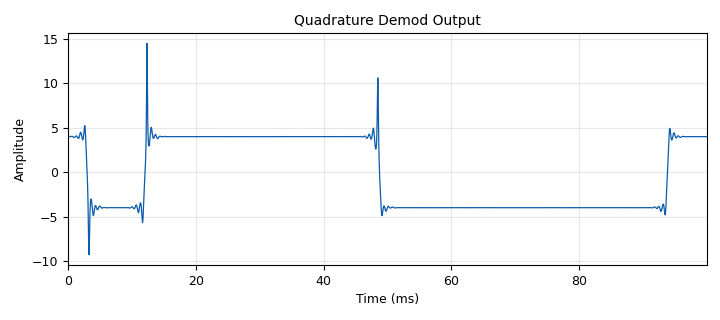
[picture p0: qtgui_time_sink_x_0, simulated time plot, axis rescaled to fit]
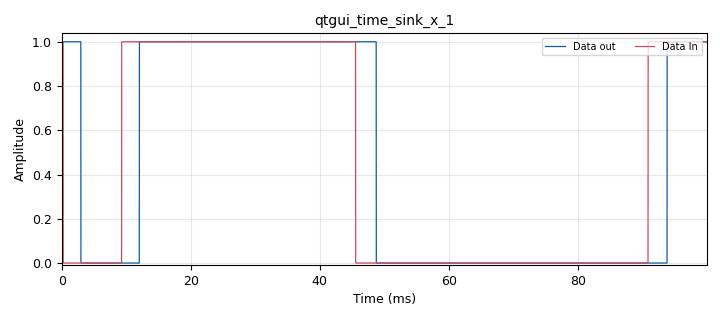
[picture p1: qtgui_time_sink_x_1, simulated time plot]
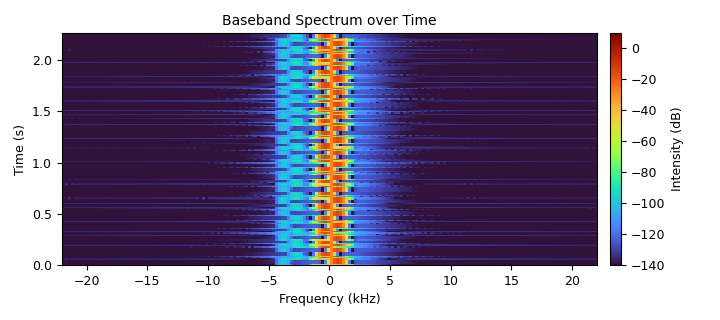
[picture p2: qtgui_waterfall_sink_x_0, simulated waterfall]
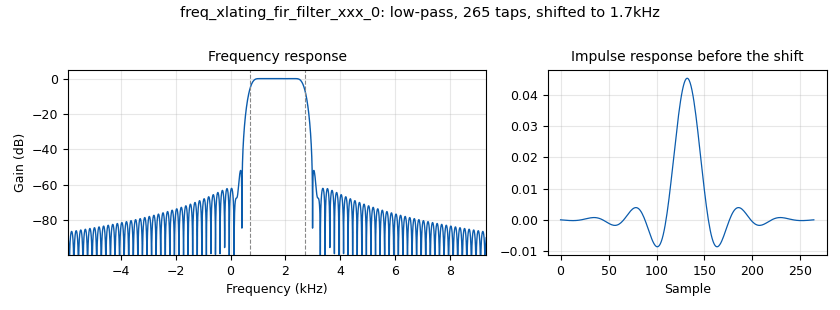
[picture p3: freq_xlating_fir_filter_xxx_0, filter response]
<?xml version='1.0' encoding='utf-8'?>
<?grc format='1' created='3.7.10'?>
<flow_graph>
<block>
<key>options</key>
<param><key>id</key><value>top_block</value></param>
<param><key>category</key><value>Custom</value></param>
<param><key>generate_options</key><value>qt_gui</value></param>
</block>
<block>
<key>variable</key>
<param><key>id</key><value>samp_rate</value></param>
<param><key>value</key><value>44100</value></param>
</block>
<block>
<key>analog_const_source_x</key>
<param><key>id</key><value>analog_const_source_x_0</value></param>
<param><key>const</key><value>1</value></param>
<param><key>type</key><value>float</value></param>
</block>
<block>
<key>analog_quadrature_demod_cf</key>
<param><key>id</key><value>analog_quadrature_demod_cf_0</value></param>
<param><key>gain</key><value>-samp_rate/(2*math.pi*1000/8.0)</value></param>
</block>
<block>
<key>analog_random_source_x</key>
<param><key>id</key><value>analog_random_source_x_0</value></param>
<param><key>_enabled</key><value>0</value></param>
<param><key>max</key><value>2</value></param>
<param><key>min</key><value>0</value></param>
<param><key>num_samps</key><value>1000</value></param>
<param><key>type</key><value>byte</value></param>
<param><key>repeat</key><value>True</value></param>
</block>
<block>
<key>analog_sig_source_x</key>
<param><key>id</key><value>analog_sig_source_x_1</value></param>
<param><key>amp</key><value>1</value></param>
<param><key>freq</key><value>1200</value></param>
<param><key>offset</key><value>0</value></param>
<param><key>type</key><value>float</value></param>
<param><key>samp_rate</key><value>samp_rate</value></param>
<param><key>waveform</key><value>analog.GR_COS_WAVE</value></param>
</block>
<block>
<key>analog_sig_source_x</key>
<param><key>id</key><value>analog_sig_source_x_1_0</value></param>
<param><key>amp</key><value>1</value></param>
<param><key>freq</key><value>2200</value></param>
<param><key>offset</key><value>0</value></param>
<param><key>type</key><value>float</value></param>
<param><key>samp_rate</key><value>samp_rate</value></param>
<param><key>waveform</key><value>analog.GR_COS_WAVE</value></param>
</block>
<block>
<key>blks2_tcp_sink</key>
<param><key>id</key><value>blks2_tcp_sink_0</value></param>
<param><key>addr</key><value>127.0.0.1</value></param>
<param><key>type</key><value>complex</value></param>
<param><key>server</key><value>False</value></param>
<param><key>port</key><value>8011</value></param>
<param><key>vlen</key><value>1</value></param>
</block>
<block>
<key>blocks_add_xx</key>
<param><key>id</key><value>blocks_add_xx_0</value></param>
<param><key>type</key><value>float</value></param>
</block>
<block>
<key>blocks_char_to_float</key>
<param><key>id</key><value>blocks_char_to_float_0</value></param>
<param><key>scale</key><value>1</value></param>
</block>
<block>
<key>blocks_char_to_float</key>
<param><key>id</key><value>blocks_char_to_float_1</value></param>
<param><key>scale</key><value>1</value></param>
</block>
<block>
<key>blocks_multiply_xx</key>
<param><key>id</key><value>blocks_multiply_xx_0</value></param>
<param><key>type</key><value>float</value></param>
</block>
<block>
<key>blocks_multiply_xx</key>
<param><key>id</key><value>blocks_multiply_xx_0_0</value></param>
<param><key>type</key><value>float</value></param>
</block>
<block>
<key>blocks_repeat</key>
<param><key>id</key><value>blocks_repeat_0</value></param>
<param><key>interp</key><value>400</value></param>
<param><key>type</key><value>byte</value></param>
</block>
<block>
<key>blocks_sub_xx</key>
<param><key>id</key><value>blocks_sub_xx_0</value></param>
<param><key>type</key><value>float</value></param>
</block>
<block>
<key>blocks_throttle</key>
<param><key>id</key><value>blocks_throttle_0</value></param>
<param><key>samples_per_second</key><value>samp_rate</value></param>
<param><key>type</key><value>float</value></param>
</block>
<block>
<key>blocks_vector_source_x</key>
<param><key>id</key><value>blocks_vector_source_x_0</value></param>
<param><key>type</key><value>byte</value></param>
<param><key>repeat</key><value>True</value></param>
<param><key>vector</key><value>[0,0,0,0,0,1,0,1,0,1,1,1,1]</value></param>
</block>
<block>
<key>digital_binary_slicer_fb</key>
<param><key>id</key><value>digital_binary_slicer_fb_0</value></param>
</block>
<block>
<key>freq_xlating_fir_filter_xxx</key>
<param><key>id</key><value>freq_xlating_fir_filter_xxx_0</value></param>
<param><key>center_freq</key><value>(2200+1200) / 2</value></param>
<param><key>decim</key><value>1</value></param>
<param><key>samp_rate</key><value>44100</value></param>
<param><key>taps</key><value>firdes.low_pass(1.0,samp_rate,1000, 400)</value></param>
<param><key>type</key><value>fcf</value></param>
</block>
<block>
<key>qtgui_time_sink_x</key>
<param><key>id</key><value>qtgui_time_sink_x_0</value></param>
<param><key>gui_hint</key><value>0,1,1,1</value></param>
<param><key>color1</key><value>"blue"</value></param>
<param><key>label1</key><value>""</value></param>
<param><key>name</key><value>"Quadrature Demod Output"</value></param>
<param><key>size</key><value>samp_rate / 10</value></param>
<param><key>srate</key><value>samp_rate</value></param>
<param><key>type</key><value>float</value></param>
<param><key>ymax</key><value>4</value></param>
<param><key>ymin</key><value>-4</value></param>
</block>
<block>
<key>qtgui_time_sink_x</key>
<param><key>id</key><value>qtgui_time_sink_x_1</value></param>
<param><key>gui_hint</key><value>1,0,1,2</value></param>
<param><key>color1</key><value>"blue"</value></param>
<param><key>label1</key><value>Data out</value></param>
<param><key>color2</key><value>"red"</value></param>
<param><key>label2</key><value>Data In</value></param>
<param><key>nconnections</key><value>2</value></param>
<param><key>size</key><value>samp_rate/10</value></param>
<param><key>srate</key><value>samp_rate</value></param>
<param><key>type</key><value>float</value></param>
<param><key>ymin</key><value>-0.01</value></param>
</block>
<block>
<key>qtgui_waterfall_sink_x</key>
<param><key>id</key><value>qtgui_waterfall_sink_x_0</value></param>
<param><key>bw</key><value>samp_rate</value></param>
<param><key>fc</key><value>0</value></param>
<param><key>fftsize</key><value>samp_rate/500*2</value></param>
<param><key>gui_hint</key><value>0,0,1,1</value></param>
<param><key>name</key><value>"Baseband Spectrum over Time"</value></param>
<param><key>showports</key><value>True</value></param>
<param><key>freqhalf</key><value>False</value></param>
<param><key>type</key><value>complex</value></param>
<param><key>update_time</key><value>500./samp_rate</value></param>
<param><key>wintype</key><value>firdes.WIN_BLACKMAN_hARRIS</value></param>
</block>
<connection><source_block_id>analog_const_source_x_0</source_block_id><sink_block_id>blocks_sub_xx_0</sink_block_id><source_key>0</source_key><sink_key>0</sink_key></connection>
<connection><source_block_id>analog_quadrature_demod_cf_0</source_block_id><sink_block_id>digital_binary_slicer_fb_0</sink_block_id><source_key>0</source_key><sink_key>0</sink_key></connection>
<connection><source_block_id>analog_quadrature_demod_cf_0</source_block_id><sink_block_id>qtgui_time_sink_x_0</sink_block_id><source_key>0</source_key><sink_key>0</sink_key></connection>
<connection><source_block_id>analog_random_source_x_0</source_block_id><sink_block_id>blocks_repeat_0</sink_block_id><source_key>0</source_key><sink_key>0</sink_key></connection>
<connection><source_block_id>analog_sig_source_x_1</source_block_id><sink_block_id>blocks_multiply_xx_0</sink_block_id><source_key>0</source_key><sink_key>0</sink_key></connection>
<connection><source_block_id>analog_sig_source_x_1_0</source_block_id><sink_block_id>blocks_multiply_xx_0_0</sink_block_id><source_key>0</source_key><sink_key>0</sink_key></connection>
<connection><source_block_id>blocks_add_xx_0</source_block_id><sink_block_id>blocks_throttle_0</sink_block_id><source_key>0</source_key><sink_key>0</sink_key></connection>
<connection><source_block_id>blocks_char_to_float_0</source_block_id><sink_block_id>blocks_multiply_xx_0</sink_block_id><source_key>0</source_key><sink_key>1</sink_key></connection>
<connection><source_block_id>blocks_char_to_float_0</source_block_id><sink_block_id>blocks_sub_xx_0</sink_block_id><source_key>0</source_key><sink_key>1</sink_key></connection>
<connection><source_block_id>blocks_char_to_float_0</source_block_id><sink_block_id>qtgui_time_sink_x_1</sink_block_id><source_key>0</source_key><sink_key>1</sink_key></connection>
<connection><source_block_id>blocks_char_to_float_1</source_block_id><sink_block_id>qtgui_time_sink_x_1</sink_block_id><source_key>0</source_key><sink_key>0</sink_key></connection>
<connection><source_block_id>blocks_multiply_xx_0</source_block_id><sink_block_id>blocks_add_xx_0</sink_block_id><source_key>0</source_key><sink_key>0</sink_key></connection>
<connection><source_block_id>blocks_multiply_xx_0_0</source_block_id><sink_block_id>blocks_add_xx_0</sink_block_id><source_key>0</source_key><sink_key>1</sink_key></connection>
<connection><source_block_id>blocks_repeat_0</source_block_id><sink_block_id>blocks_char_to_float_0</sink_block_id><source_key>0</source_key><sink_key>0</sink_key></connection>
<connection><source_block_id>blocks_sub_xx_0</source_block_id><sink_block_id>blocks_multiply_xx_0_0</sink_block_id><source_key>0</source_key><sink_key>1</sink_key></connection>
<connection><source_block_id>blocks_throttle_0</source_block_id><sink_block_id>freq_xlating_fir_filter_xxx_0</sink_block_id><source_key>0</source_key><sink_key>0</sink_key></connection>
<connection><source_block_id>blocks_vector_source_x_0</source_block_id><sink_block_id>blocks_repeat_0</sink_block_id><source_key>0</source_key><sink_key>0</sink_key></connection>
<connection><source_block_id>digital_binary_slicer_fb_0</source_block_id><sink_block_id>blocks_char_to_float_1</sink_block_id><source_key>0</source_key><sink_key>0</sink_key></connection>
<connection><source_block_id>freq_xlating_fir_filter_xxx_0</source_block_id><sink_block_id>analog_quadrature_demod_cf_0</sink_block_id><source_key>0</source_key><sink_key>0</sink_key></connection>
<connection><source_block_id>freq_xlating_fir_filter_xxx_0</source_block_id><sink_block_id>blks2_tcp_sink_0</sink_block_id><source_key>0</source_key><sink_key>0</sink_key></connection>
<connection><source_block_id>freq_xlating_fir_filter_xxx_0</source_block_id><sink_block_id>qtgui_waterfall_sink_x_0</sink_block_id><source_key>0</source_key><sink_key>0</sink_key></connection>
</flow_graph>
